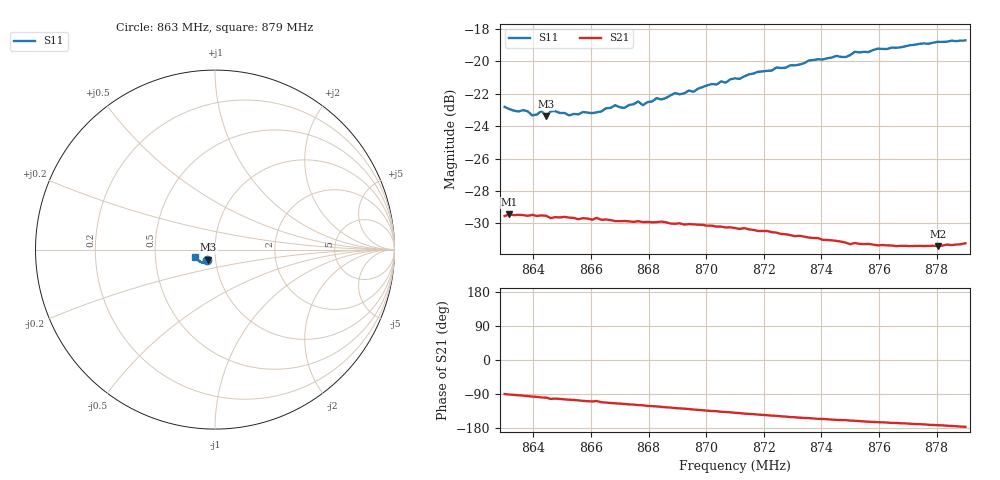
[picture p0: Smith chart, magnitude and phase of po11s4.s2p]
# HZ S RI R 50
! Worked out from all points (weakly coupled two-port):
!   101 points, 863 MHz to 879 MHz, reference 50 ohm
!   highest |S21| = -29.45 dB at 863.16 MHz (marker M1); lowest = -31.4 dB at 878.04 MHz (marker M2)
!   lowest |S11| = -23.4 dB at 864.44 MHz (marker M3), VSWR 1.15, Z = 46.1 - j5.19 ohm
!   |S11| at or under -10 dB: start of sweep to end of sweep
!   S12 and S22 are empty: the file has one direction only
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8.63e8  -0.0452 -0.0566  5.4e-05 -0.0333  0 0  0 0
8.6316e8  -0.044 -0.0561  -0.00066 -0.0337  0 0  0 0
8.638e8  -0.0414 -0.0566  -0.00307 -0.0332  0 0  0 0
8.6396e8  -0.0388 -0.056  -0.00383 -0.0334  0 0  0 0
8.6428e8  -0.0392 -0.0585  -0.00514 -0.0331  0 0  0 0
8.6444e8  -0.0379 -0.0561  -0.00538 -0.0329  0 0  0 0
8.646e8  -0.039 -0.0583  -0.00723 -0.032  0 0  0 0
8.6524e8  -0.0367 -0.0574  -0.0084 -0.0318  0 0  0 0
8.6572e8  -0.0361 -0.0597  -0.01 -0.0312  0 0  0 0
8.6636e8  -0.0367 -0.0597  -0.012 -0.0301  0 0  0 0
8.6684e8  -0.0365 -0.0635  -0.0132 -0.0292  0 0  0 0
8.6716e8  -0.0358 -0.0623  -0.0141 -0.0289  0 0  0 0
8.6764e8  -0.0385 -0.0646  -0.0155 -0.0281  0 0  0 0
8.678e8  -0.0368 -0.0634  -0.0157 -0.0278  0 0  0 0
8.6828e8  -0.0379 -0.0671  -0.0171 -0.0269  0 0  0 0
8.6844e8  -0.0378 -0.0662  -0.0177 -0.0267  0 0  0 0
8.71e8  -0.0499 -0.0733  -0.0232 -0.02  0 0  0 0
8.7372e8  -0.0684 -0.0743  -0.0257 -0.0124  0 0  0 0
8.75e8  -0.0795 -0.0679  -0.0256 -0.00941  0 0  0 0
8.7644e8  -0.0924 -0.0603  -0.0262 -0.00653  0 0  0 0
8.7804e8  -0.1037 -0.0496  -0.0266 -0.00372  0 0  0 0
8.79e8  -0.1095 -0.0387  -0.0274 -0.00174  0 0  0 0
